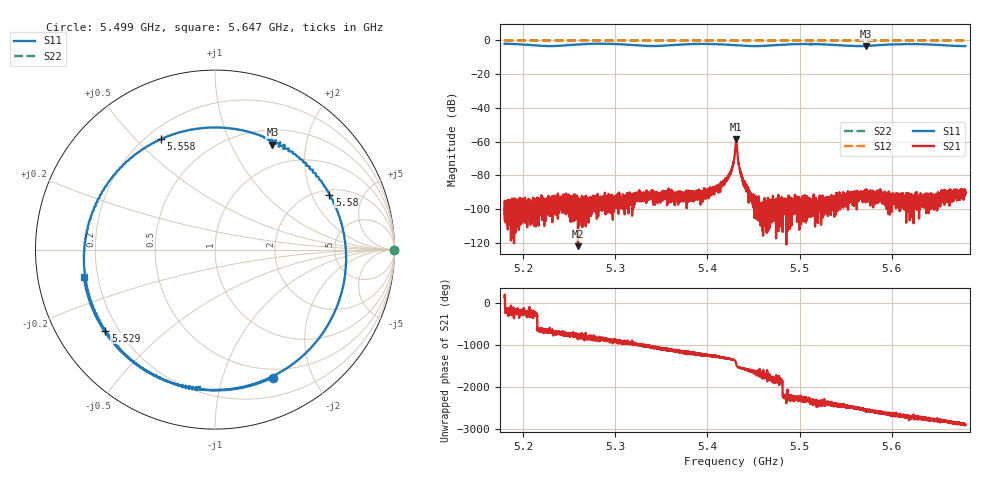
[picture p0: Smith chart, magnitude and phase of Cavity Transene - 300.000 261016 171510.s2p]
# HZ S DB R 50
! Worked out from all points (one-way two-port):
!   5000 points, 5.18 GHz to 5.68 GHz, reference 50 ohm
!   highest |S21| = -58.60 dB at 5.431 GHz (marker M1); lowest = -122.1 dB at 5.26 GHz (marker M2)
!   lowest |S11| = -3.5 dB at 5.572 GHz (marker M3), VSWR 5.00, Z = 34.5 + j72.7 ohm
!   |S11| at or under -10 dB: nowhere
!   |S22| runs from 0.0 to 0.0 dB; largest |S21 - S12| = 1
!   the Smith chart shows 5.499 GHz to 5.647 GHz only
!   S11 on the Smith chart (normalised r, x): 5.499 GHz: 0.40, -1.47; 5.529 GHz: 0.15, -0.32; 5.558 GHz: 0.26, +0.60; 5.58 GHz: 2.22, +2.72; 5.647 GHz: 0.15, -0.10
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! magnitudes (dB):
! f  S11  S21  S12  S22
! 5.18 GHz  -1.9  -106.3  0.0  0.0
! 5.228 GHz  -3.3  -96.4  0.0  0.0
! 5.26 GHz  -2.4  -122.1  0.0  0.0
! 5.263 GHz  -2.2  -96.0  0.0  0.0
! 5.347 GHz  -3.3  -91.9  0.0  0.0
! 5.422 GHz  -2.5  -81.7  0.0  0.0
! 5.426 GHz  -2.7  -77.0  0.0  0.0
! 5.427 GHz  -2.7  -74.6  0.0  0.0
! 5.43 GHz  -2.8  -65.9  0.0  0.0
! 5.431 GHz  -2.9  -58.6  0.0  0.0
! 5.433 GHz  -2.9  -68.2  0.0  0.0
! 5.436 GHz  -3.0  -78.3  0.0  0.0
! 5.439 GHz  -3.1  -82.8  0.0  0.0
! 5.499 GHz  -2.1  -94.6  0.0  0.0
! 5.513 GHz  -2.1  -101.2  0.0  0.0
! 5.529 GHz  -2.4  -99.0  0.0  0.0
! 5.558 GHz  -3.3  -90.4  0.0  0.0
! 5.572 GHz  -3.5  -89.9  0.0  0.0
! 5.58 GHz  -3.0  -91.1  0.0  0.0
! 5.597 GHz  -2.4  -89.6  0.0  0.0
! 5.647 GHz  -2.5  -99.6  0.0  0.0
! 5.68 GHz  -3.3  -90.1  0.0  0.0
